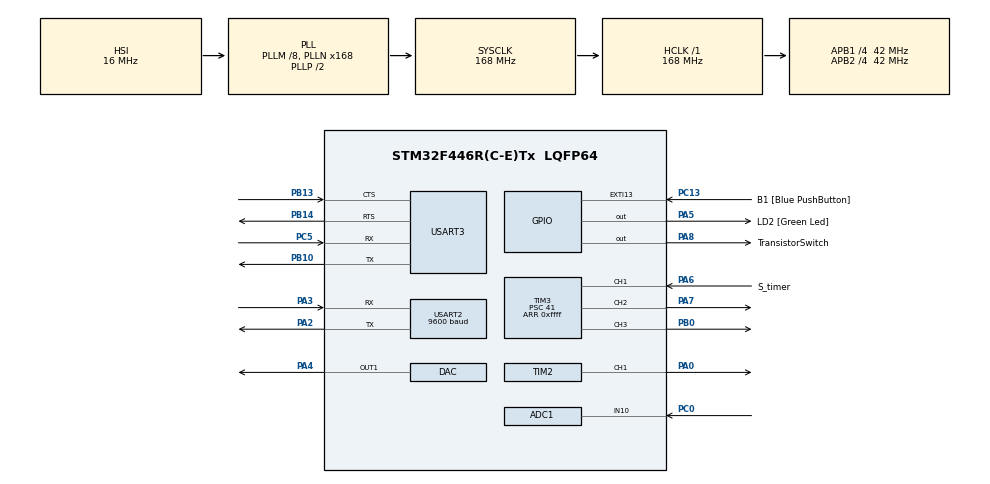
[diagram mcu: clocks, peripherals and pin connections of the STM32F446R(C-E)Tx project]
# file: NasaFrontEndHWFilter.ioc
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ADC1.Channel-17\#ChannelRegularConversion=ADC_CHANNEL_10
ADC1.ClockPrescaler=ADC_CLOCK_SYNC_PCLK_DIV2
ADC1.ContinuousConvMode=DISABLE
ADC1.DMAContinuousRequests=ENABLE
ADC1.DataAlign=ADC_DATAALIGN_RIGHT
ADC1.DiscontinuousConvMode=DISABLE
ADC1.EOCSelection=ADC_EOC_SEQ_CONV
ADC1.EnableAnalogWatchDog=false
ADC1.ExternalTrigConv=ADC_EXTERNALTRIGCONV_T2_TRGO
ADC1.ExternalTrigConvEdge=ADC_EXTERNALTRIGCONVEDGE_RISING
ADC1.InjNumberOfConversion=0
ADC1.NbrOfConversion=1
ADC1.NbrOfConversionFlag=1
ADC1.Rank-17\#ChannelRegularConversion=1
ADC1.Resolution=ADC_RESOLUTION_8B
ADC1.SamplingTime-17\#ChannelRegularConversion=ADC_SAMPLETIME_3CYCLES
ADC1.ScanConvMode=DISABLE
ADC1.master=1
Mcu.Family=STM32F4
Mcu.Name=STM32F446R(C-E)Tx
Mcu.Package=LQFP64
Mcu.UserConstants=HI,0xF8E;LO,0x0F8;HIGHCOUNT,2;LOWCOUNT,1;HIGHPERIOD,450;LOWPERIOD,310
NVIC.ADC_IRQn=true\:0\:0\:false\:false\:true
NVIC.EXTI15_10_IRQn=true\:0\:0\:false\:false\:true
NVIC.PriorityGroup=NVIC_PRIORITYGROUP_0
NVIC.TIM3_IRQn=true\:0\:0\:false\:false\:true
NVIC.TIM4_IRQn=true\:0\:0\:false\:false\:true
NVIC.USART2_IRQn=true\:0\:0\:false\:false\:true
PA0-WKUP.Signal=S_TIM2_CH1_ETR
PA2.Mode=Asynchronous
PA2.Signal=USART2_TX
PA3.Mode=Asynchronous
PA3.Signal=USART2_RX
PA4.Signal=COMP_DAC1_group
PA5.GPIO_Label=LD2 [Green Led]
PA5.GPIO_PuPd=GPIO_PULLDOWN
PA5.Signal=GPIO_Output
PA6.GPIO_Label=S_timer
PA6.Signal=S_TIM3_CH1
PA7.GPIO_PuPd=GPIO_PULLDOWN
PA7.Signal=S_TIM3_CH2
PA8.GPIO_Label=TransistorSwitch
PA8.GPIO_PuPd=GPIO_PULLDOWN
PA8.GPIO_Speed=GPIO_SPEED_FREQ_VERY_HIGH
PA8.Signal=GPIO_Output
PB0.Signal=S_TIM3_CH3
PB10.Mode=Asynchronous
PB10.Signal=USART3_TX
PB13.Mode=CTS_RTS
PB13.Signal=USART3_CTS
PB14.Mode=CTS_RTS
PB14.Signal=USART3_RTS
PC0.Signal=ADCx_IN10
PC13.GPIO_Label=B1 [Blue PushButton]
PC13.GPIO_ModeDefaultEXTI=GPIO_MODE_IT_RISING
PC13.GPIO_PuPd=GPIO_PULLDOWN
PC13.Signal=GPXTI13
PC5.Mode=Asynchronous
PC5.Signal=USART3_RX
ProjectManager.HeapSize=0x200
ProjectManager.StackSize=0x400
ProjectManager.TargetToolchain=MDK-ARM V5
RCC.AHBFreq_Value=168000000
RCC.APB1CLKDivider=RCC_HCLK_DIV4
RCC.APB1Freq_Value=42000000
RCC.APB1TimFreq_Value=84000000
RCC.APB2CLKDivider=RCC_HCLK_DIV4
RCC.APB2Freq_Value=42000000
RCC.APB2TimFreq_Value=84000000
RCC.CortexFreq_Value=168000000
RCC.FLatency-AdvancedSettings=FLASH_LATENCY_5
RCC.HCLKFreq_Value=168000000
RCC.HSE_VALUE=8000000
RCC.HSI_VALUE=16000000
RCC.LSE_VALUE=32768
RCC.PLLM=8
RCC.PLLN=168
RCC.SYSCLKFreq_VALUE=168000000
RCC.SYSCLKSource=RCC_SYSCLKSOURCE_PLLCLK
RCC.USBFreq_Value=168000000
RCC.VCOOutputFreq_Value=336000000
SH.ADCx_IN10.0=ADC1_IN10,IN10
SH.COMP_DAC1_group.0=DAC_OUT1,DAC_OUT1
SH.S_TIM2_CH1_ETR.0=TIM2_CH1,Output Compare1 CH1
SH.S_TIM3_CH1.0=TIM3_CH1,Input_Capture1_from_TI1
SH.S_TIM3_CH2.0=TIM3_CH2,Output Compare2 CH2
SH.S_TIM3_CH3.0=TIM3_CH3,Output Compare3 CH3
TIM2.OCMode_1=TIM_OCMODE_TOGGLE
TIM2.Period=63999
TIM2.Prescaler=2624
TIM2.TIM_MasterOutputTrigger=TIM_TRGO_UPDATE
TIM3.Channel-Output\ Compare2\ CH2=TIM_CHANNEL_2
TIM3.Channel-Output\ Compare3\ CH3=TIM_CHANNEL_3
TIM3.ICPolarity_CH1=TIM_INPUTCHANNELPOLARITY_FALLING
TIM3.OCMode_2=TIM_OCMODE_TOGGLE
TIM3.OCMode_3=TIM_OCMODE_TIMING
TIM3.Period=0xffff
TIM3.Prescaler=41
TIM4.Period=62499
TIM4.Prescaler=671
USART2.BaudRate=9600
VP_TIM2_VS_ClockSourceINT.Mode=Internal
VP_TIM3_VS_ClockSourceINT.Mode=Internal
VP_TIM4_VS_ClockSourceINT.Mode=Internal
VP_TIM4_VS_no_output1.Mode=Output Compare1 No Output
board=NUCLEO-F446RE

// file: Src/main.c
/**
  ******************************************************************************
  * File Name          : main.c
  * Description        : Main program body
  ******************************************************************************
  *
  * COPYRIGHT(c) 2017 STMicroelectronics
  *
  * Redistribution and use in source and binary forms, with or without modification,
  * are permitted provided that the following conditions are met:
  *   1. Redistributions of source code must retain the above copyright notice,
  *      this list of conditions and the following disclaimer.
  *   2. Redistributions in binary form must reproduce the above copyright notice,
  *      this list of conditions and the following disclaimer in the documentation
  *      and/or other materials provided with the distribution.
  *   3. Neither the name of STMicroelectronics nor the names of its contributors
  *      may be used to endorse or promote products derived from this software
  *      without specific prior written permission.
  *
  * THIS SOFTWARE IS PROVIDED BY THE COPYRIGHT HOLDERS AND CONTRIBUTORS "AS IS"
  * AND ANY EXPRESS OR IMPLIED WARRANTIES, INCLUDING, BUT NOT LIMITED TO, THE
  * IMPLIED WARRANTIES OF MERCHANTABILITY AND FITNESS FOR A PARTICULAR PURPOSE ARE
  * DISCLAIMED. IN NO EVENT SHALL THE COPYRIGHT HOLDER OR CONTRIBUTORS BE LIABLE
  * FOR ANY DIRECT, INDIRECT, INCIDENTAL, SPECIAL, EXEMPLARY, OR CONSEQUENTIAL
  * DAMAGES (INCLUDING, BUT NOT LIMITED TO, PROCUREMENT OF SUBSTITUTE GOODS OR
  * SERVICES; LOSS OF USE, DATA, OR PROFITS; OR BUSINESS INTERRUPTION) HOWEVER
  * CAUSED AND ON ANY THEORY OF LIABILITY, WHETHER IN CONTRACT, STRICT LIABILITY,
  * OR TORT (INCLUDING NEGLIGENCE OR OTHERWISE) ARISING IN ANY WAY OUT OF THE USE
  * OF THIS SOFTWARE, EVEN IF ADVISED OF THE POSSIBILITY OF SUCH DAMAGE.
  *
  ******************************************************************************
  */
//This program WILL NOT WORK if not hooked up to oscillator and controller!!!!
#include "stm32f4xx_hal.h"

/* USER CODE BEGIN Includes */
#define OFFSET 30
#include "ManchesterEncode.h"
/* USER CODE END Includes */

ADC_HandleTypeDef hadc1;

DAC_HandleTypeDef hdac;

TIM_HandleTypeDef htim2;
TIM_HandleTypeDef htim3;
TIM_HandleTypeDef htim4;

UART_HandleTypeDef huart2;
UART_HandleTypeDef huart3;

/* USER CODE BEGIN PV */
/* Private variables ---------------------------------------------------------*/
static int TestArray[ONES_REPEATED + ZEROES_REPEATED];
	//To prevent transients on the oscillator, multiple copies of the same symbol must be sent in a row.
	//This sequence is actually 101010101010
int ArrLen = sizeof(TestArray) / sizeof(int);
int ArrInd = 0;
int NextSymbol = 85, CurrentSymbol = 85;
//85 = invalid input, prevents accidentaly entering loops

uint8_t ADC_data[1]; //for reading temp sensor
int ConvCplt = 0; //this is used to begin transmit function after ADC takes a reading
uint8_t ConvData[1];
uint8_t buffer1[100];

volatile int togglecheck = 1; // flag for when to update nextt transmitted symbol
char PolarityCheck = 'R'; //used to update current edge polarity (Rise or fall)
int stop_ADC = 1;
int CaseNumber = 0; //used to (eventually) switch between data entry modes
int EdgeCount = 0; //counts edges detected to determine when to transmit next symbol

volatile uint32_t ADCConvertedValue; //holds last converted value
uint32_t LastValue = 5000; //invalid value to prevent invalid start

uint16_t CaptureIndex = 0;
uint32_t CapValue0 = 0;
uint32_t CapValue1 = 0;
uint32_t CapValue2 = 0;
uint32_t ValueDiff = 0;

uint32_t i = 0;

volatile uint32_t EntryModeFlag = 0;
volatile uint32_t StartFlag = 0;

uint8_t view1 = 0; // for viewing values parsed from ADC data
uint8_t view2 = 0;
uint8_t view3 = 0;
uint8_t view4 = 0;
uint8_t view5 = 0;
uint8_t view6 = 0;
uint8_t view7 = 0;
uint8_t view8 = 0;
int switch1 = 1;
int switch2 = 1;
/* USER CODE END PV */

void SystemClock_Config(void);
void Error_Handler(void);
static void MX_GPIO_Init(void);
static void MX_ADC1_Init(void);
static void MX_DAC_Init(void);
static void MX_TIM2_Init(void);
static void MX_TIM3_Init(void);
static void MX_USART3_UART_Init(void);
static void MX_TIM4_Init(void);
static void MX_USART2_UART_Init(void);

void HAL_TIM_MspPostInit(TIM_HandleTypeDef *htim);

/* USER CODE BEGIN PFP */
/* Private function prototypes -----------------------------------------------*/
void TestCaseOutput(void); //output function for testcase mode
void ReadCustomData(void);
/* USER CODE END PFP */

int main(void)
{

  /* USER CODE BEGIN 1 */
	uint16_t testindex = 0;
	uint16_t tmp_tot = ONES_REPEATED + ZEROES_REPEATED;
	for(testindex=0; testindex < ONES_REPEATED; testindex++){
		TestArray[testindex] = 1;
	}
	for(testindex = ONES_REPEATED; testindex<tmp_tot; testindex++){
		TestArray[testindex] = 0;
	}
  /* USER CODE END 1 */

  /* MCU Configuration----------------------------------------------------------*/

  /* Reset of all peripherals, Initializes the Flash interface and the Systick. */
  HAL_Init();

  /* Configure the system clock */
  SystemClock_Config();

  /* Initialize all configured peripherals */
  MX_GPIO_Init();
  MX_ADC1_Init();
  MX_DAC_Init();
  MX_TIM2_Init();
  MX_TIM3_Init();
  MX_USART3_UART_Init();
  MX_TIM4_Init();
  MX_USART2_UART_Init();

  /* USER CODE BEGIN 2 */
	HAL_TIM_Base_Start_IT(&htim2);  //time base for adc sampling rate
	//HAL_ADC_Start_DMA(&hadc1, &ADCConvertedValue, sizeof(uint32_t));
  //HAL_TIM_OC_Start(&htim2,TIM_CHANNEL_1);

	HAL_TIM_IC_Start_IT(&htim3, TIM_CHANNEL_1);
	HAL_TIM_OC_Start_IT(&htim2, TIM_CHANNEL_1);
	HAL_ADC_Start_IT(&hadc1);

  /* USER CODE END 2 */

  /* Infinite loop */
  /* USER CODE BEGIN WHILE */
  while (1)
  {
		//HAL_GPIO_WritePin(TransistorSwitch_GPIO_Port, TransistorSwitch_Pin, GPIO_PIN_SET);
  /* USER CODE END WHILE */

  /* USER CODE BEGIN 3 */
//		while(!StartFlag){
//		}
		//StartFlag = 0;
		switch(CaseNumber){
			case(0) :
				if (switch1 == 1)
				{
					HAL_ADC_Stop_IT(&hadc1); //stop the ADC to keep its callback and interrupt out of the way
					switch1 = 0;
					switch2 = 1;
				}
				while(togglecheck){ //if it's time to switch to next symbol THIS MAKES NO SENSE.
					// If togglecheck is commented in line 205, test case works but cannot get out of this loop.
					TestCaseOutput(); //transmit
				}
				break;
			case(1) :
				if (switch2 == 1)
				{
					HAL_ADC_Start_IT(&hadc1); //Start the ADC to get temperature readings
					switch1 = 1;
					switch2 = 0;
				}
				ReadCustomData();

				break;
			case(2):
				break;
			default :
				break;
		}
	}
  /* USER CODE END 3 */

}

/** System Clock Configuration
*/
void SystemClock_Config(void)
{

  RCC_OscInitTypeDef RCC_OscInitStruct;
  RCC_ClkInitTypeDef RCC_ClkInitStruct;

  __HAL_RCC_PWR_CLK_ENABLE();

  __HAL_PWR_VOLTAGESCALING_CONFIG(PWR_REGULATOR_VOLTAGE_SCALE1);

  RCC_OscInitStruct.OscillatorType = RCC_OSCILLATORTYPE_HSI;
  RCC_OscInitStruct.HSIState = RCC_HSI_ON;
  RCC_OscInitStruct.HSICalibrationValue = 16;
  RCC_OscInitStruct.PLL.PLLState = RCC_PLL_ON;
  RCC_OscInitStruct.PLL.PLLSource = RCC_PLLSOURCE_HSI;
  RCC_OscInitStruct.PLL.PLLM = 8;
  RCC_OscInitStruct.PLL.PLLN = 168;
  RCC_OscInitStruct.PLL.PLLP = RCC_PLLP_DIV2;
  RCC_OscInitStruct.PLL.PLLQ = 2;
  RCC_OscInitStruct.PLL.PLLR = 2;
  if (HAL_RCC_OscConfig(&RCC_OscInitStruct) != HAL_OK)
  {
    Error_Handler();
  }

  RCC_ClkInitStruct.ClockType = RCC_CLOCKTYPE_HCLK|RCC_CLOCKTYPE_SYSCLK
                              |RCC_CLOCKTYPE_PCLK1|RCC_CLOCKTYPE_PCLK2;
  RCC_ClkInitStruct.SYSCLKSource = RCC_SYSCLKSOURCE_PLLCLK;
  RCC_ClkInitStruct.AHBCLKDivider = RCC_SYSCLK_DIV1;
  RCC_ClkInitStruct.APB1CLKDivider = RCC_HCLK_DIV4;
  RCC_ClkInitStruct.APB2CLKDivider = RCC_HCLK_DIV4;
  if (HAL_RCC_ClockConfig(&RCC_ClkInitStruct, FLASH_LATENCY_5) != HAL_OK)
  {
    Error_Handler();
  }

  HAL_SYSTICK_Config(HAL_RCC_GetHCLKFreq()/1000);

  HAL_SYSTICK_CLKSourceConfig(SYSTICK_CLKSOURCE_HCLK);

  /* SysTick_IRQn interrupt configuration */
  HAL_NVIC_SetPriority(SysTick_IRQn, 0, 0);
}

/* ADC1 init function */
static void MX_ADC1_Init(void)
{

  ADC_ChannelConfTypeDef sConfig;

    /**Configure the global features of the ADC (Clock, Resolution, Data Alignment and number of conversion)
    */
  hadc1.Instance = ADC1;
  hadc1.Init.ClockPrescaler = ADC_CLOCK_SYNC_PCLK_DIV2;
  hadc1.Init.Resolution = ADC_RESOLUTION_8B;
  hadc1.Init.ScanConvMode = DISABLE;
  hadc1.Init.ContinuousConvMode = DISABLE;
  hadc1.Init.DiscontinuousConvMode = DISABLE;
  hadc1.Init.ExternalTrigConvEdge = ADC_EXTERNALTRIGCONVEDGE_RISING;
  hadc1.Init.ExternalTrigConv = ADC_EXTERNALTRIGCONV_T2_TRGO;
  hadc1.Init.DataAlign = ADC_DATAALIGN_RIGHT;
  hadc1.Init.NbrOfConversion = 1;
  hadc1.Init.DMAContinuousRequests = ENABLE;
  hadc1.Init.EOCSelection = ADC_EOC_SEQ_CONV;
  if (HAL_ADC_Init(&hadc1) != HAL_OK)
  {
    Error_Handler();
  }

    /**Configure for the selected ADC regular channel its corresponding rank in the sequencer and its sample time.
    */
  sConfig.Channel = ADC_CHANNEL_10;
  sConfig.Rank = 1;
  sConfig.SamplingTime = ADC_SAMPLETIME_3CYCLES;
  if (HAL_ADC_ConfigChannel(&hadc1, &sConfig) != HAL_OK)
  {
    Error_Handler();
  }

}

/* DAC init function */
static void MX_DAC_Init(void)
{

  DAC_ChannelConfTypeDef sConfig;

    /**DAC Initialization
    */
  hdac.Instance = DAC;
  if (HAL_DAC_Init(&hdac) != HAL_OK)
  {
    Error_Handler();
  }

    /**DAC channel OUT1 config
    */
  sConfig.DAC_Trigger = DAC_TRIGGER_NONE;
  sConfig.DAC_OutputBuffer = DAC_OUTPUTBUFFER_ENABLE;
  if (HAL_DAC_ConfigChannel(&hdac, &sConfig, DAC_CHANNEL_1) != HAL_OK)
  {
    Error_Handler();
  }

}

/* TIM2 init function */
static void MX_TIM2_Init(void)
{

  TIM_ClockConfigTypeDef sClockSourceConfig;
  TIM_MasterConfigTypeDef sMasterConfig;
  TIM_OC_InitTypeDef sConfigOC;

  htim2.Instance = TIM2;
  htim2.Init.Prescaler = 2624;
  htim2.Init.CounterMode = TIM_COUNTERMODE_UP;
  htim2.Init.Period = 63999;
  htim2.Init.ClockDivision = TIM_CLOCKDIVISION_DIV1;
  if (HAL_TIM_Base_Init(&htim2) != HAL_OK)
  {
    Error_Handler();
  }

  sClockSourceConfig.ClockSource = TIM_CLOCKSOURCE_INTERNAL;
  if (HAL_TIM_ConfigClockSource(&htim2, &sClockSourceConfig) != HAL_OK)
  {
    Error_Handler();
  }

  if (HAL_TIM_OC_Init(&htim2) != HAL_OK)
  {
    Error_Handler();
  }

  sMasterConfig.MasterOutputTrigger = TIM_TRGO_UPDATE;
  sMasterConfig.MasterSlaveMode = TIM_MASTERSLAVEMODE_DISABLE;
  if (HAL_TIMEx_MasterConfigSynchronization(&htim2, &sMasterConfig) != HAL_OK)
  {
    Error_Handler();
  }

  sConfigOC.OCMode = TIM_OCMODE_TOGGLE;
  sConfigOC.Pulse = 0;
  sConfigOC.OCPolarity = TIM_OCPOLARITY_HIGH;
  sConfigOC.OCFastMode = TIM_OCFAST_DISABLE;
  if (HAL_TIM_OC_ConfigChannel(&htim2, &sConfigOC, TIM_CHANNEL_1) != HAL_OK)
  {
    Error_Handler();
  }

  HAL_TIM_MspPostInit(&htim2);

}

/* TIM3 init function */
static void MX_TIM3_Init(void)
{

  TIM_ClockConfigTypeDef sClockSourceConfig;
  TIM_MasterConfigTypeDef sMasterConfig;
  TIM_IC_InitTypeDef sConfigIC;
  TIM_OC_InitTypeDef sConfigOC;

  htim3.Instance = TIM3;
  htim3.Init.Prescaler = 41;
  htim3.Init.CounterMode = TIM_COUNTERMODE_UP;
  htim3.Init.Period = 0xffff;
  htim3.Init.ClockDivision = TIM_CLOCKDIVISION_DIV1;
  if (HAL_TIM_Base_Init(&htim3) != HAL_OK)
  {
    Error_Handler();
  }

  sClockSourceConfig.ClockSource = TIM_CLOCKSOURCE_INTERNAL;
  if (HAL_TIM_ConfigClockSource(&htim3, &sClockSourceConfig) != HAL_OK)
  {
    Error_Handler();
  }

  if (HAL_TIM_IC_Init(&htim3) != HAL_OK)
  {
    Error_Handler();
  }

  if (HAL_TIM_OC_Init(&htim3) != HAL_OK)
  {
    Error_Handler();
  }

  sMasterConfig.MasterOutputTrigger = TIM_TRGO_RESET;
  sMasterConfig.MasterSlaveMode = TIM_MASTERSLAVEMODE_DISABLE;
  if (HAL_TIMEx_MasterConfigSynchronization(&htim3, &sMasterConfig) != HAL_OK)
  {
    Error_Handler();
  }

  sConfigIC.ICPolarity = TIM_INPUTCHANNELPOLARITY_FALLING;
  sConfigIC.ICSelection = TIM_ICSELECTION_DIRECTTI;
  sConfigIC.ICPrescaler = TIM_ICPSC_DIV1;
  sConfigIC.ICFilter = 0;
  if (HAL_TIM_IC_ConfigChannel(&htim3, &sConfigIC, TIM_CHANNEL_1) != HAL_OK)
  {
    Error_Handler();
  }

  sConfigOC.OCMode = TIM_OCMODE_TOGGLE;
  sConfigOC.Pulse = 0;
  sConfigOC.OCPolarity = TIM_OCPOLARITY_HIGH;
  sConfigOC.OCFastMode = TIM_OCFAST_DISABLE;
  if (HAL_TIM_OC_ConfigChannel(&htim3, &sConfigOC, TIM_CHANNEL_2) != HAL_OK)
  {
    Error_Handler();
  }

  sConfigOC.OCMode = TIM_OCMODE_TIMING;
  if (HAL_TIM_OC_ConfigChannel(&htim3, &sConfigOC, TIM_CHANNEL_3) != HAL_OK)
  {
    Error_Handler();
  }

  HAL_TIM_MspPostInit(&htim3);

}

/* TIM4 init function */
static void MX_TIM4_Init(void)
{

  TIM_ClockConfigTypeDef sClockSourceConfig;
  TIM_MasterConfigTypeDef sMasterConfig;
  TIM_OC_InitTypeDef sConfigOC;

  htim4.Instance = TIM4;
  htim4.Init.Prescaler = 671;
  htim4.Init.CounterMode = TIM_COUNTERMODE_UP;
  htim4.Init.Period = 62499;
  htim4.Init.ClockDivision = TIM_CLOCKDIVISION_DIV1;
  if (HAL_TIM_Base_Init(&htim4) != HAL_OK)
  {
    Error_Handler();
  }

  sClockSourceConfig.ClockSource = TIM_CLOCKSOURCE_INTERNAL;
  if (HAL_TIM_ConfigClockSource(&htim4, &sClockSourceConfig) != HAL_OK)
  {
    Error_Handler();
  }

  if (HAL_TIM_OC_Init(&htim4) != HAL_OK)
  {
    Error_Handler();
  }

  sMasterConfig.MasterOutputTrigger = TIM_TRGO_RESET;
  sMasterConfig.MasterSlaveMode = TIM_MASTERSLAVEMODE_DISABLE;
  if (HAL_TIMEx_MasterConfigSynchronization(&htim4, &sMasterConfig) != HAL_OK)
  {
    Error_Handler();
  }

  sConfigOC.OCMode = TIM_OCMODE_TIMING;
  sConfigOC.Pulse = 0;
  sConfigOC.OCPolarity = TIM_OCPOLARITY_HIGH;
  sConfigOC.OCFastMode = TIM_OCFAST_DISABLE;
  if (HAL_TIM_OC_ConfigChannel(&htim4, &sConfigOC, TIM_CHANNEL_1) != HAL_OK)
  {
    Error_Handler();
  }

}

/* USART2 init function */
static void MX_USART2_UART_Init(void)
{

  huart2.Instance = USART2;
  huart2.Init.BaudRate = 9600;
  huart2.Init.WordLength = UART_WORDLENGTH_8B;
  huart2.Init.StopBits = UART_STOPBITS_1;
  huart2.Init.Parity = UART_PARITY_NONE;
  huart2.Init.Mode = UART_MODE_TX_RX;
  huart2.Init.HwFlowCtl = UART_HWCONTROL_NONE;
  huart2.Init.OverSampling = UART_OVERSAMPLING_16;
  if (HAL_UART_Init(&huart2) != HAL_OK)
  {
    Error_Handler();
  }

}

/* USART3 init function */
static void MX_USART3_UART_Init(void)
{

  huart3.Instance = USART3;
  huart3.Init.BaudRate = 115200;
  huart3.Init.WordLength = UART_WORDLENGTH_8B;
  huart3.Init.StopBits = UART_STOPBITS_1;
  huart3.Init.Parity = UART_PARITY_NONE;
  huart3.Init.Mode = UART_MODE_TX_RX;
  huart3.Init.HwFlowCtl = UART_HWCONTROL_RTS_CTS;
  huart3.Init.OverSampling = UART_OVERSAMPLING_16;
  if (HAL_UART_Init(&huart3) != HAL_OK)
  {
    Error_Handler();
  }

}

/** Configure pins as
        * Analog
        * Input
        * Output
        * EVENT_OUT
        * EXTI
*/
static void MX_GPIO_Init(void)
{

  GPIO_InitTypeDef GPIO_InitStruct;

  /* GPIO Ports Clock Enable */
  __HAL_RCC_GPIOC_CLK_ENABLE();
  __HAL_RCC_GPIOA_CLK_ENABLE();
  __HAL_RCC_GPIOB_CLK_ENABLE();

  /*Configure GPIO pin : B1_Pin */
  GPIO_InitStruct.Pin = B1_Pin;
  GPIO_InitStruct.Mode = GPIO_MODE_IT_RISING;
  GPIO_InitStruct.Pull = GPIO_PULLDOWN;
  HAL_GPIO_Init(B1_GPIO_Port, &GPIO_InitStruct);

  /*Configure GPIO pin : LD2_Pin */
  GPIO_InitStruct.Pin = LD2_Pin;
  GPIO_InitStruct.Mode = GPIO_MODE_OUTPUT_PP;
  GPIO_InitStruct.Pull = GPIO_PULLDOWN;
  GPIO_InitStruct.Speed = GPIO_SPEED_FREQ_LOW;
  HAL_GPIO_Init(LD2_GPIO_Port, &GPIO_InitStruct);

  /*Configure GPIO pin : TransistorSwitch_Pin */
  GPIO_InitStruct.Pin = TransistorSwitch_Pin;
  GPIO_InitStruct.Mode = GPIO_MODE_OUTPUT_PP;
  GPIO_InitStruct.Pull = GPIO_PULLDOWN;
  GPIO_InitStruct.Speed = GPIO_SPEED_FREQ_VERY_HIGH;
  HAL_GPIO_Init(TransistorSwitch_GPIO_Port, &GPIO_InitStruct);

  /*Configure GPIO pin Output Level */
  HAL_GPIO_WritePin(GPIOA, LD2_Pin|TransistorSwitch_Pin, GPIO_PIN_RESET);

  /* EXTI interrupt init*/
  HAL_NVIC_SetPriority(EXTI15_10_IRQn, 0, 0);
  HAL_NVIC_EnableIRQ(EXTI15_10_IRQn);

}

/* USER CODE BEGIN 4 */
void TestCaseOutput(void)
	{

	if(NextSymbol == 85){ //data validation for the initial transmission
		NextSymbol = TestArray[ArrInd];  //load the first transmission symbol in the array
		ArrInd++;
	}

	if(NextSymbol == 1){
		HAL_GPIO_WritePin(TransistorSwitch_GPIO_Port, TransistorSwitch_Pin, GPIO_PIN_SET);
		//HAL_GPIO_WritePin(LD2_GPIO_Port, LD2_Pin, GPIO_PIN_SET);
	}else if(NextSymbol == 0){
		HAL_GPIO_WritePin(TransistorSwitch_GPIO_Port, TransistorSwitch_Pin, GPIO_PIN_RESET);
	}

	if((ArrInd + 1) <= (ArrLen))
		{ //prevent ArrInd going out of bounds
		CurrentSymbol = NextSymbol;
		NextSymbol = TestArray[ArrInd];
		ArrInd++;
		if(ArrInd == ArrLen)
			{
			ArrInd = 0;
		}
	}
	togglecheck = 0; //clear flag
}

void ReadCustomData(void)
	{
			//HAL_GPIO_TogglePin(LD2_GPIO_Port, LD2_Pin);
	//		static int p=0; //,i = 0;
			//uint8_t buffer[100]; //for inputting data
			//uint8_t recbuff[1]; //for inputting data
			uint8_t sendbuff[8];
			//p = ADC_data[0];
			//HAL_UART_Transmit(&huart2, buffer, p, 50);
		if (ConvCplt == 1)
		{
				ConvData[0] = ADC_data[0];
				for(i=0;i<8;i++)
				{
					if (ConvData[0]%2 == 1)
					{
						sendbuff[i] = 1;
					}
					else
					{
						sendbuff[i] = 0;
					}
				ConvData[0] = ConvData[0]/2;
				}
				view1 = sendbuff[0];
				view2 = sendbuff[1];
				view3 = sendbuff[2];
				view4 = sendbuff[3];
				view5 = sendbuff[4];
				view6 = sendbuff[5];
				view7 = sendbuff[6];
				view8 = sendbuff[7];
	//		p = sprintf((char *)buffer, "Please enter in your own input:\n"); for entering data from putty/serial
	//		HAL_UART_Transmit(&huart2, buffer, p,50);
	//		HAL_UART_Receive(&huart2, recbuff, 2, 10000);
			//p = 0;
			//recbuff[0] = ;
	//		for(i=0;i<8;i++){
	//			sendbuff[i] = (recbuff[0] & (0x1 << i)); //this might parse the recbuff (which is stored as a single element) into 8 bits
	//			sendbuff[i] = sendbuff[i] >> i; //perhaps the best way to get ADC temp value to this state would be to create var ADCsendbuff[8] and do the same as is done to the value from UART
	//			//p++;
	//		}

		for(int k=0;k<7;k++)
				{
			//these two for loops create the start sequence of 1-1-0-0
				for(int z = 0; z<1; z++) //changed to z<1 for try of 1-0
				{
					for(int j=0;j<ONES_REPEATED;j++)
							{ //Flag a start to the sequence
								while(!togglecheck){}
								HAL_GPIO_WritePin(TransistorSwitch_GPIO_Port, TransistorSwitch_Pin, GPIO_PIN_SET);
								//HAL_GPIO_WritePin(LD2_GPIO_Port, LD2_Pin, GPIO_PIN_SET);
								togglecheck = 0;
							}
					//HAL_GPIO_WritePin(TransistorSwitch_GPIO_Port, TransistorSwitch_Pin, GPIO_PIN_RESET);
				}
				for(int z = 0; z<1; z++)
				{
					for(int j=0;j<ZEROES_REPEATED;j++) //changed to z<1 for 1-0
					{ //Flag a start to the sequence
								while(!togglecheck){}
								HAL_GPIO_WritePin(TransistorSwitch_GPIO_Port, TransistorSwitch_Pin, GPIO_PIN_RESET);
								//HAL_GPIO_WritePin(LD2_GPIO_Port, LD2_Pin, GPIO_PIN_RESET);
								togglecheck = 0;
					}
					//HAL_GPIO_WritePin(TransistorSwitch_GPIO_Port, TransistorSwitch_Pin, GPIO_PIN_SET);
				 }
	//this loop takes the 8 values in sendbuff and makes them into the bitstream to be sent
if (k%2 == 0 && k<5)
{
		for(i=0;i<8;i++)
		{
			if(sendbuff[i] == 1) //1 = 1-0
				{
				ManchesterOne();
				ManchesterZero();
				if(k>4)
				{
				sendbuff[i] = 0;
				}
				}
				else if(sendbuff[i] == 0) //0 = 1-1-0
				{
				ManchesterOne();
				ManchesterOne();
				ManchesterZero();
				if(k>4)
				{
				sendbuff[i] = 0;
				}
				}
		}
	}
else //null delimiter thing
{
	for(i=0;i<8;i++)
	{
		ManchesterOne();
		ManchesterOne();
		ManchesterZero();
		//ManchesterZero();
	}
}
HAL_Delay(10);
	}
		ConvCplt = 0;
	}
		while(!togglecheck){ //set back to low
		}
		HAL_GPIO_WritePin(TransistorSwitch_GPIO_Port, TransistorSwitch_Pin, GPIO_PIN_RESET);
		//HAL_GPIO_WritePin(LD2_GPIO_Port, LD2_Pin, GPIO_PIN_RESET);
		togglecheck = 0;
}

void HAL_ADC_ConvCpltCallback(ADC_HandleTypeDef* hadc1) //reads temperature sensor
{
		ADC_data[0] = HAL_ADC_GetValue(hadc1);
		HAL_GPIO_TogglePin(LD2_GPIO_Port, LD2_Pin); //shows conversion happening every 2 seconds
		static int p1=0;
		p1 = sprintf((char *)buffer1, "%d\n0\n%d\n0\n%d\n0\n0\n",ADC_data[0],ADC_data[0],ADC_data[0]); // remember sprintf returns a length
		HAL_UART_Transmit(&huart2, buffer1, p1,50); //transmit data in buffer1 with length p1
		ConvCplt = 1;
}
//void HAL_ADC_ConvCpltCallback(ADC_HandleTypeDef* hadc) //IGNORE THIS CALLBACK --UNUSED
//{
//	//HAL_GPIO_TogglePin(LD2_GPIO_Port, LD2_Pin); //pin toggle to ensure operation
//
//	if(LastValue <= 4095){
//		if((LastValue < LOWEDGE) && (ADCConvertedValue > HIGHEDGE)){
//			EdgeCount++;
//			if(HAL_TIM_IC_Start_IT(&htim3, TIM_CHANNEL_1) != HAL_OK)
//				{
//					Error_Handler();
//				}
//		}
//
////		if(CurrentSymbol == 1){
////			if(EdgeCount >= HIGHCOUNT){
////				EdgeCount = 0;
////				togglecheck = 1;
////			}
////		}else if(CurrentSymbol == 0){
////			if(EdgeCount >= LOWCOUNT){
////				EdgeCount = 0;
////				togglecheck = 1;
////			}
////		}
//	}

//	LastValue = ADCConvertedValue; //store last state
//}

void HAL_TIM_IC_CaptureCallback( TIM_HandleTypeDef* htim ){ //this function writes the togglecheck back to 1 for the while loop in main
//this means the uc must have the oscillator folding mechanism on pin D12 to generate the 1010101010 pattern

	if(htim->Channel == HAL_TIM_ACTIVE_CHANNEL_1){ //check that the proper timer channel interrupted
		if((PolarityCheck == 'R') && (CaptureIndex == 0)){ //if the next edge is rising and the first capture
			CapValue0 = HAL_TIM_ReadCapturedValue(htim, TIM_CHANNEL_1);
			CaptureIndex++; //increase index variable
			PolarityCheck = 'F'; //change capture polarity
		}else if(CaptureIndex == 1){
			CapValue1 = HAL_TIM_ReadCapturedValue(htim, TIM_CHANNEL_1);
			CaptureIndex++;
			PolarityCheck = 'R';
		}else if(CaptureIndex == 2){
			CapValue0 = HAL_TIM_ReadCapturedValue(htim, TIM_CHANNEL_1);
			CaptureIndex--; //bring back to CapInd = 1
			PolarityCheck = 'F';//change polarity
			togglecheck = 1; //now that ---__-- low pulse detected, begin next transmission
		}
		if(PolarityCheck == 'R'){ //change IC capture polarity
			__HAL_TIM_SET_CAPTUREPOLARITY(&htim3, TIM_CHANNEL_1, TIM_INPUTCHANNELPOLARITY_RISING);
		}else if(PolarityCheck == 'F'){
			__HAL_TIM_SET_CAPTUREPOLARITY(&htim3, TIM_CHANNEL_1, TIM_INPUTCHANNELPOLARITY_FALLING);
		}
	}
}

void HAL_TIM_OC_DelayElapsedCallback( TIM_HandleTypeDef* htim ){
	HAL_TIM_OC_Stop_IT(htim, TIM_CHANNEL_1);
	if(EntryModeFlag){
		CaseNumber = 1;
		EntryModeFlag = 0;
		StartFlag = 1;
	}else if(!CaseNumber){
		ArrInd = 0;
		ArrLen = sizeof(TestArray) / sizeof(int);
		//HAL_TIM_IC_Start_IT(&htim3, TIM_CHANNEL_1);
		StartFlag = 1;
	}
}

void HAL_GPIO_EXTI_Callback(uint16_t GPIO_Pin){

//	if((htim4.Instance->CR1 && 0x0001) == 0){
//		HAL_TIM_OC_Start_IT(&htim4, TIM_CHANNEL_1);
//	}else if((htim4.Instance->CR1 && 0x0001) == 1){
//		EntryModeFlag = 1;
//	}
	StartFlag = 1;
	CaseNumber++;
//	if(!CaseNumber){
//		HAL_TIM_IC_Stop_IT(&htim3, TIM_CHANNEL_1);
//		CaseNumber++;
//		ArrInd = 0;
//	}else{
//		CaseNumber = 0;
//		ArrLen = sizeof(TestArray) / sizeof(int);
//		ArrInd = 0;
//				HAL_TIM_IC_Start_IT(&htim3, TIM_CHANNEL_1);
//	}
}

void HAL_UART_RxCpltCallback(UART_HandleTypeDef * huart){

}
/* USER CODE END 4 */

void Error_Handler(void)
{
  while(1)
  {
  }
}

/************************ (C) COPYRIGHT STMicroelectronics *****END OF FILE****/
